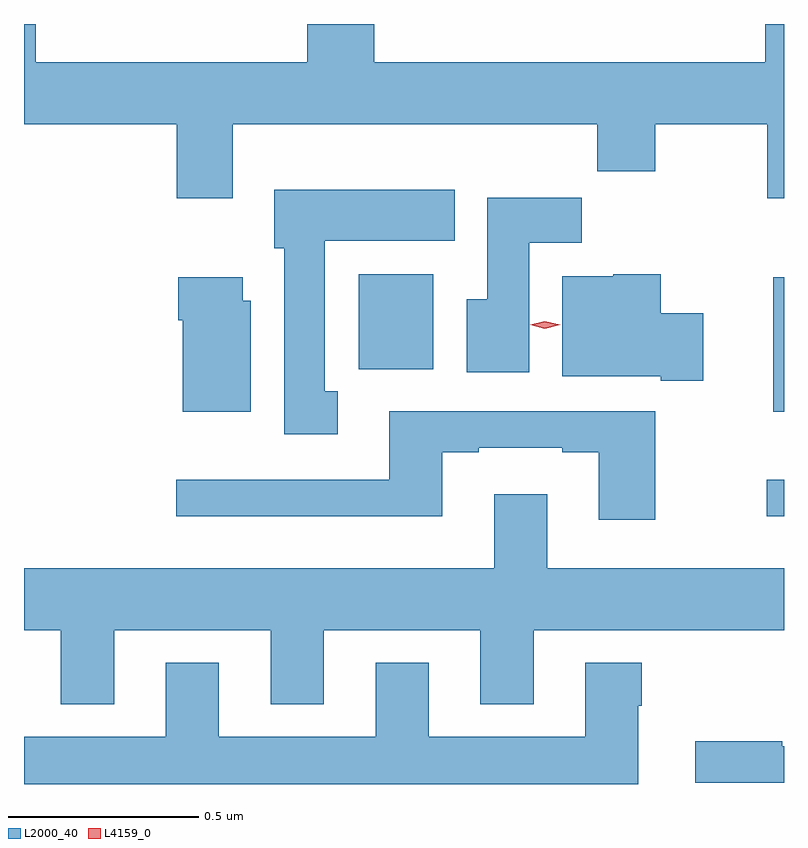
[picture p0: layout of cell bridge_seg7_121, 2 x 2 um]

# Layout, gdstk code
import gdstk
lib = gdstk.Library(unit=1e-6, precision=1e-09)
def R(c, l, rs):  # rectangles x0, y0, x1, y1
    for r in rs: c.add(gdstk.rectangle(r[:2], r[2:], *l))
def P(c, l, *ps):  # polygons
    for p in ps: c.add(gdstk.Polygon(p, *l))
L2000_40 = (2000, 40)
L4159_0 = (4159, 0)

bridge_seg7_121 = lib.new_cell('bridge_seg7_121')
R(bridge_seg7_121, L2000_40, [(808.905,1010.24,808.95,1010.337), (808.922,1010.516,808.95,1010.869), (807.831,1010.628,808.027,1010.878)])
P(bridge_seg7_121, L2000_40, [(807.499,1011.272),(808.459,1011.272),(808.459,1011.148),(808.611,1011.148),(808.611,1011.272),(808.906,1011.272),(808.906,1011.078),(808.95,1011.078),(808.95,1011.536),(808.901,1011.536),(808.901,1011.436),(807.872,1011.436),(807.872,1011.536),(807.695,1011.536),(807.695,1011.436),(806.981,1011.436),(806.981,1011.536),(806.95,1011.536),(806.95,1011.272),(807.352,1011.272),(807.352,1011.078),(807.499,1011.078)],
  [(807.775,1010.569),(807.742,1010.569),(807.742,1010.966),(808.084,1010.966),(808.084,1011.1),(807.608,1011.1),(807.608,1010.946),(807.635,1010.946),(807.635,1010.457),(807.775,1010.457)],
  [(808.279,1010.96),(808.418,1010.96),(808.418,1011.079),(808.169,1011.079),(808.169,1010.812),(808.115,1010.812),(808.115,1010.619),(808.279,1010.619)],
  [(808.738,1010.775),(808.626,1010.775),(808.626,1010.878),(808.5,1010.878),(808.5,1010.872),(808.367,1010.872),(808.367,1010.609),(808.625,1010.609),(808.625,1010.597),(808.738,1010.597)],
  [(807.547,1010.808),(807.526,1010.808),(807.526,1010.869),(807.356,1010.869),(807.356,1010.756),(807.368,1010.756),(807.368,1010.516),(807.547,1010.516)],
  [(808.611,1010.517),(807.911,1010.517),(807.911,1010.337),(807.351,1010.337),(807.351,1010.24),(808.051,1010.24),(808.051,1010.409),(808.147,1010.409),(808.147,1010.421),(808.367,1010.421),(808.367,1010.409),(808.463,1010.409),(808.463,1010.232),(808.611,1010.232)],
  [(807.187,1009.94),(807.599,1009.94),(807.599,1009.746),(807.739,1009.746),(807.739,1009.94),(808.151,1009.94),(808.151,1009.746),(808.291,1009.746),(808.291,1009.94),(808.95,1009.94),(808.95,1010.104),(808.327,1010.104),(808.327,1010.299),(808.187,1010.299),(808.187,1010.104),(806.95,1010.104),(806.95,1009.94),(807.047,1009.94),(807.047,1009.746),(807.187,1009.746)],
  [(808.567,1009.742),(808.575,1009.742),(808.575,1009.855),(808.427,1009.855),(808.427,1009.66),(808.015,1009.66),(808.015,1009.855),(807.875,1009.855),(807.875,1009.66),(807.463,1009.66),(807.463,1009.855),(807.323,1009.855),(807.323,1009.66),(806.95,1009.66),(806.95,1009.536),(808.567,1009.536)],
  [(808.95,1009.635),(808.946,1009.635),(808.946,1009.648),(808.716,1009.648),(808.716,1009.539),(808.95,1009.539)])
P(bridge_seg7_121, L4159_0, [(808.321,1010.734),(808.282,1010.744),(808.281,1010.744),(808.282,1010.744),(808.321,1010.754),(808.361,1010.744),(808.361,1010.744),(808.361,1010.744)])

lib.write_gds('bridge_seg7_121.gds')
